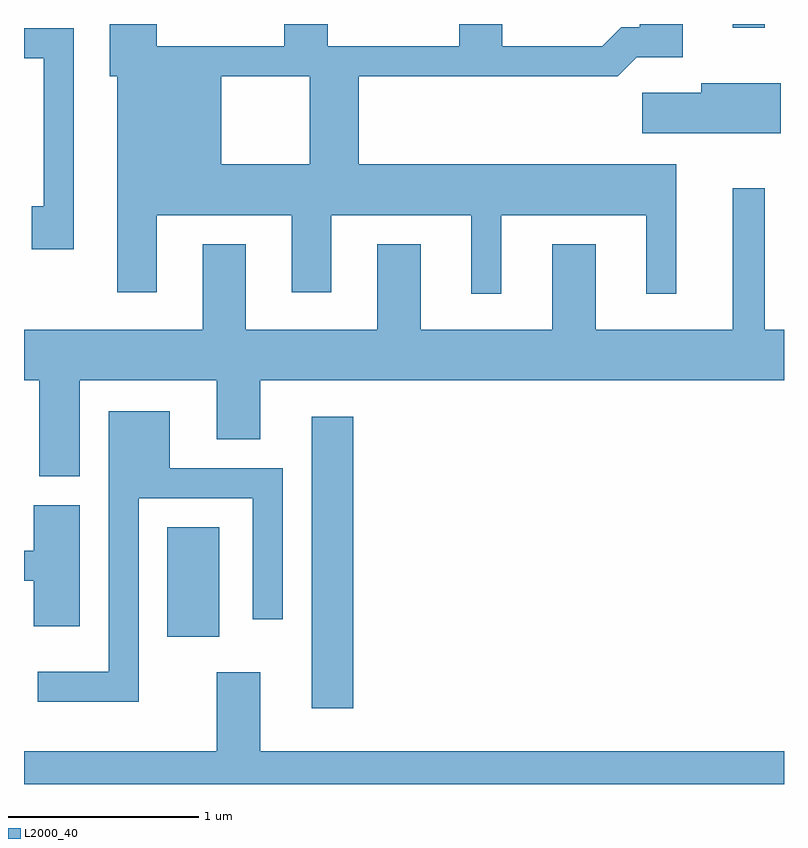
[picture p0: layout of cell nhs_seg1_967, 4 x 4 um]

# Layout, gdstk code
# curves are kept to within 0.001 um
import gdstk
lib = gdstk.Library(unit=1e-6, precision=1e-09)
def R(c, l, rs):  # rectangles x0, y0, x1, y1
    for r in rs: c.add(gdstk.rectangle(r[:2], r[2:], *l))
def P(c, l, *ps):  # polygons
    for p in ps: c.add(gdstk.Polygon(p, *l))
L2000_40 = (2000, 40)

nhs_seg1_967 = lib.new_cell('nhs_seg1_967')
R(nhs_seg1_967, L2000_40, [(217.126,860.111,217.344,861.644), (216.366,860.486,216.639,861.064), (219.341,863.693,219.509,863.712)])
P(nhs_seg1_967, L2000_40, [(216.309,862.301),(216.309,862.706),(217.021,862.706),(217.021,862.301),(217.229,862.301),(217.229,862.706),(217.966,862.706),(217.966,862.293),(218.124,862.293),(218.124,862.706),(218.886,862.706),(218.886,862.293),(219.044,862.293),(219.044,862.974),(217.374,862.974),(217.374,863.436),(218.737,863.436),(218.837,863.536),(219.079,863.536),(219.079,863.712),(218.851,863.712),(218.851,863.694),(218.754,863.694),(218.654,863.594),(218.129,863.594),(218.129,863.712),(217.901,863.712),(217.901,863.594),(217.209,863.594),(217.209,863.712),(216.981,863.712),(216.981,863.594),(216.309,863.594),(216.309,863.712),(216.061,863.712),(216.061,863.436),(216.101,863.436),(216.101,862.974),(216.649,862.974),(216.649,863.436),(217.116,863.436),(217.116,862.974),(216.101,862.974),(216.101,862.301)],
  [(215.874,863.689),(215.611,863.689),(215.611,863.531),(215.716,863.531),(215.716,862.754),(215.651,862.754),(215.651,862.526),(215.874,862.526)],
  [(219.594,863.399),(219.176,863.399),(219.176,863.349),(218.866,863.349),(218.866,863.136),(219.594,863.136)],
  [(215.904,861.836),(216.626,861.836),(216.626,861.526),(216.854,861.526),(216.854,861.836),(219.611,861.836),(219.611,862.104),(219.509,862.104),(219.509,862.848),(219.341,862.848),(219.341,862.104),(218.619,862.104),(218.619,862.554),(218.391,862.554),(218.391,862.104),(217.699,862.104),(217.699,862.554),(217.471,862.554),(217.471,862.104),(216.779,862.104),(216.779,862.554),(216.551,862.554),(216.551,862.104),(215.611,862.104),(215.611,861.836),(215.691,861.836),(215.691,861.331),(215.904,861.331)],
  [(216.214,861.216),(216.816,861.216),(216.816,860.578),(216.974,860.578),(216.974,861.374),(216.379,861.374),(216.379,861.674),(216.056,861.674),(216.056,860.304),(215.683,860.304),(215.683,860.146),(216.214,860.146)],
  [(215.904,861.179),(215.661,861.179),(215.661,860.939),(215.611,860.939),(215.611,860.781),(215.661,860.781),(215.661,860.541),(215.904,860.541)],
  [(219.611,859.884),(216.854,859.884),(216.854,860.299),(216.626,860.299),(216.626,859.884),(215.611,859.884),(215.611,859.712),(219.611,859.712)])

lib.write_gds('nhs_seg1_967.gds')
